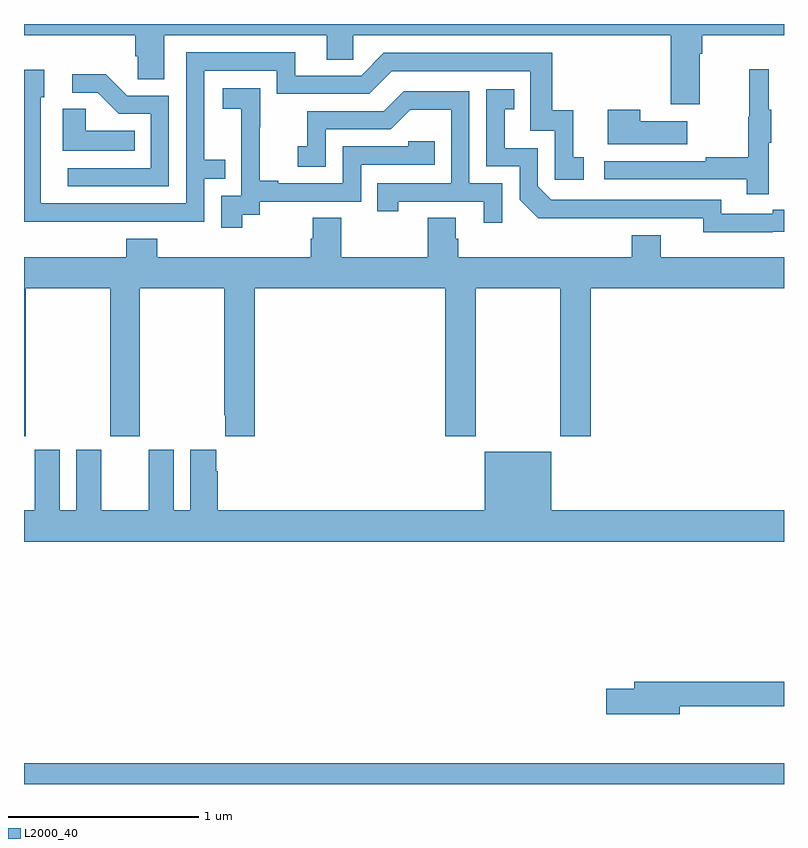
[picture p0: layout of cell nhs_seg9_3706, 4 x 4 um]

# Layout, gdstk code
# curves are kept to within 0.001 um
import gdstk
lib = gdstk.Library(unit=1e-6, precision=1e-09)
def R(c, l, rs):  # rectangles x0, y0, x1, y1
    for r in rs: c.add(gdstk.rectangle(r[:2], r[2:], *l))
def P(c, l, *ps):  # polygons
    for p in ps: c.add(gdstk.Polygon(p, *l))
L2000_40 = (2000, 40)

nhs_seg9_3706 = lib.new_cell('nhs_seg9_3706')
R(nhs_seg9_3706, L2000_40, [(323,1172.5,327,1172.608)])
P(nhs_seg9_3706, L2000_40, [(326.557,1176.344),(326.57,1176.344),(326.57,1176.44),(327,1176.44),(327,1176.5),(323,1176.5),(323,1176.44),(323.585,1176.44),(323.585,1176.331),(323.598,1176.331),(323.598,1176.208),(323.737,1176.208),(323.737,1176.44),(324.593,1176.44),(324.593,1176.313),(324.732,1176.313),(324.732,1176.44),(326.405,1176.44),(326.405,1176.078),(326.557,1176.078)],
  [(323.453,1175.46),(323.949,1175.46),(323.949,1175.685),(324.059,1175.685),(324.059,1175.786),(323.949,1175.786),(323.949,1176.255),(324.33,1176.255),(324.33,1176.132),(324.816,1176.132),(324.936,1176.252),(325.665,1176.252),(325.665,1175.937),(325.794,1175.937),(325.794,1175.679),(325.945,1175.679),(325.945,1175.799),(325.892,1175.799),(325.892,1176.046),(325.781,1176.046),(325.781,1176.348),(324.894,1176.348),(324.774,1176.228),(324.427,1176.228),(324.427,1176.351),(323.853,1176.351),(323.853,1175.556),(323.088,1175.556),(323.088,1176.114),(323.107,1176.114),(323.107,1176.259),(323,1176.259),(323,1175.459)],
  [(326.921,1175.875),(326.932,1175.875),(326.932,1176.049),(326.921,1176.049),(326.921,1176.262),(326.818,1176.262),(326.818,1176.012),(326.811,1176.012),(326.811,1175.798),(326.587,1175.798),(326.587,1175.778),(326.055,1175.778),(326.055,1175.682),(326.803,1175.682),(326.803,1175.604),(326.921,1175.604)],
  [(323.763,1176.123),(323.544,1176.123),(323.431,1176.236),(323.253,1176.236),(323.253,1176.138),(323.387,1176.138),(323.498,1176.027),(323.667,1176.027),(323.667,1175.742),(323.229,1175.742),(323.229,1175.646),(323.763,1175.646)],
  [(324.148,1175.497),(324.24,1175.497),(324.24,1175.565),(324.774,1175.565),(324.774,1175.76),(325.163,1175.76),(325.163,1175.883),(325.023,1175.883),(325.023,1175.856),(324.678,1175.856),(324.678,1175.661),(324.337,1175.661),(324.337,1175.674),(324.242,1175.674),(324.242,1175.957),(324.243,1175.957),(324.243,1176.163),(324.045,1176.163),(324.045,1176.053),(324.143,1176.053),(324.143,1175.825),(324.144,1175.825),(324.144,1175.595),(324.039,1175.595),(324.039,1175.427),(324.148,1175.427)],
  [(326.942,1175.406),(327,1175.406),(327,1175.522),(326.942,1175.522),(326.942,1175.502),(326.67,1175.502),(326.67,1175.574),(325.776,1175.574),(325.704,1175.646),(325.704,1175.847),(325.531,1175.847),(325.531,1176.051),(325.58,1176.051),(325.58,1176.157),(325.434,1176.157),(325.434,1175.751),(325.608,1175.751),(325.608,1175.574),(325.706,1175.477),(326.574,1175.478),(326.574,1175.405)],
  [(325.518,1175.661),(325.344,1175.661),(325.344,1176.147),(324.998,1176.147),(324.893,1176.042),(324.49,1176.042),(324.49,1175.857),(324.441,1175.857),(324.441,1175.748),(324.588,1175.748),(324.588,1175.946),(324.93,1175.946),(325.034,1176.05),(325.248,1176.05),(325.248,1175.661),(324.859,1175.661),(324.859,1175.514),(324.97,1175.514),(324.97,1175.565),(325.421,1175.565),(325.421,1175.454),(325.518,1175.454)],
  [(323.582,1175.938),(323.325,1175.938),(323.325,1176.053),(323.204,1176.053),(323.204,1175.834),(323.582,1175.834)],
  [(326.491,1175.989),(326.243,1175.989),(326.243,1176.049),(326.072,1176.049),(326.072,1175.867),(326.491,1175.867)],
  [(323.01,1175.108),(323.455,1175.108),(323.455,1174.329),(323.61,1174.329),(323.61,1175.108),(324.055,1175.108),(324.055,1174.441),(324.059,1174.441),(324.059,1174.329),(324.215,1174.329),(324.215,1175.108),(325.217,1175.108),(325.217,1174.329),(325.377,1174.329),(325.377,1175.108),(325.822,1175.108),(325.822,1174.329),(325.982,1174.329),(325.982,1175.108),(327,1175.108),(327,1175.272),(326.35,1175.272),(326.35,1175.389),(326.198,1175.389),(326.198,1175.272),(325.286,1175.272),(325.286,1175.37),(325.273,1175.37),(325.273,1175.48),(325.126,1175.48),(325.126,1175.272),(324.669,1175.272),(324.669,1175.48),(324.521,1175.48),(324.521,1175.37),(324.509,1175.37),(324.509,1175.272),(323.702,1175.272),(323.702,1175.371),(323.537,1175.371),(323.537,1175.272),(323,1175.272),(323,1174.329),(323.01,1174.329)],
  [(327,1173.94),(325.774,1173.94),(325.774,1174.249),(325.424,1174.249),(325.424,1173.94),(324.02,1173.94),(324.02,1174.145),(324.013,1174.145),(324.013,1174.258),(323.876,1174.258),(323.876,1173.94),(323.788,1173.94),(323.788,1174.258),(323.657,1174.258),(323.657,1173.94),(323.407,1173.94),(323.407,1174.258),(323.276,1174.258),(323.276,1173.94),(323.188,1173.94),(323.188,1174.258),(323.057,1174.258),(323.057,1173.94),(323,1173.94),(323,1173.776),(327,1173.776)],
  [(326.452,1172.91),(327,1172.91),(327,1173.038),(326.213,1173.038),(326.213,1173.002),(326.064,1173.002),(326.064,1172.867),(326.452,1172.867)])

lib.write_gds('nhs_seg9_3706.gds')
